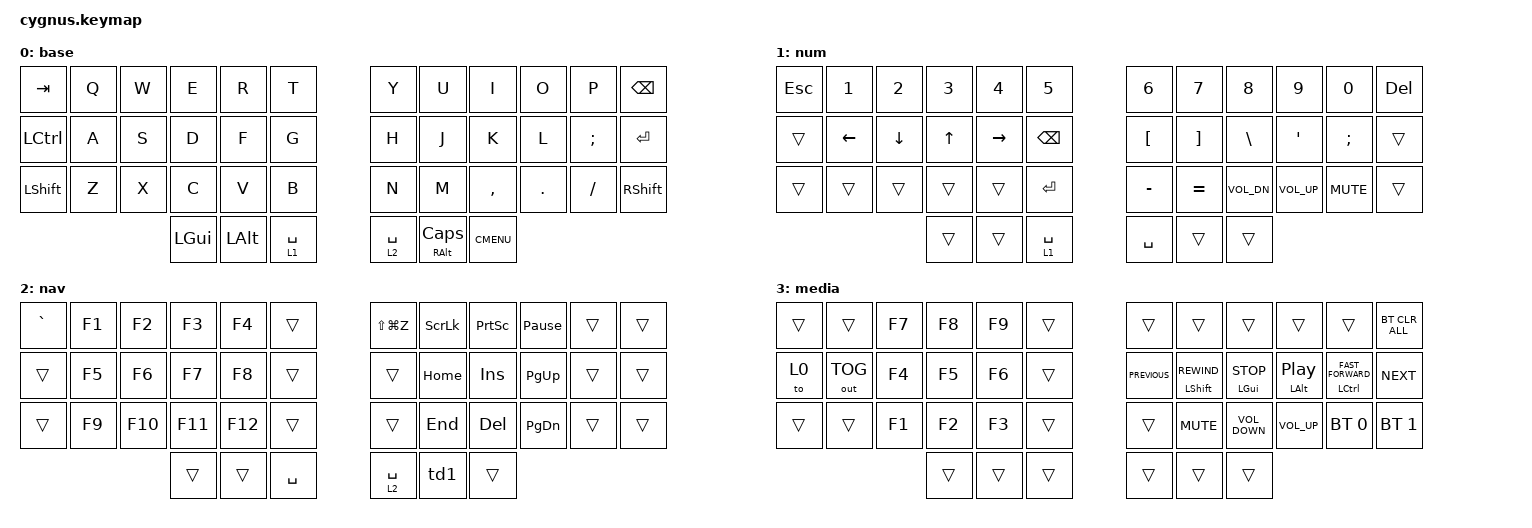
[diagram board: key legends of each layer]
/*
 * Copyright (c) 2020 The ZMK Contributors
 *
 * SPDX-License-Identifier: MIT
 */

#include <behaviors.dtsi>
#include <dt-bindings/zmk/bt.h>
#include <dt-bindings/zmk/keys.h>
#include <dt-bindings/zmk/outputs.h>

&mt {
    tapping-term-ms = <200>;
    flavor = "tap-preferred";
};

&sk {
    release-after-ms = <2000>;
    quick-release;
};

/ {
    combos {
        compatible = "zmk,combos";

        left_bkt {
            bindings = <&kp LBKT>;
            key-positions = <3 2>;
            timeout-ms = <50>;
        };

        right_bkt {
            bindings = <&kp RBKT>;
            key-positions = <6 7>;
            timeout-ms = <50>;
        };

        left_par {
            bindings = <&kp LEFT_PARENTHESIS>;
            key-positions = <12 13>;
            timeout-ms = <50>;
        };

        right_par {
            bindings = <&kp RIGHT_PARENTHESIS>;
            key-positions = <16 17>;
            timeout-ms = <50>;
        };

        left_brace {
            bindings = <&kp LEFT_BRACE>;
            key-positions = <23 22>;
            timeout-ms = <50>;
        };

        right_brace {
            bindings = <&kp RIGHT_BRACE>;
            key-positions = <26 27>;
            timeout-ms = <50>;
        };

        bac {
            bindings = <&kp BACKSLASH>;
            key-positions = <4 5>;
        };

        pipe {
            bindings = <&kp PIPE>;
            key-positions = <14 15>;
        };
    };

    behaviors {
        hm: homerow_mods {
            compatible = "zmk,behavior-hold-tap";
            label = "HOMEROW_MODS";
            #binding-cells = <2>;
            tapping-term-ms = <200>;
            quick_tap_ms = <0>;
            flavor = "tap-preferred";
            bindings = <&kp>, <&kp>;

            quick-tap-ms = <180>;
            global-quick-tap;
        };

        ltq: ltq {
            compatible = "zmk,behavior-hold-tap";
            label = "LTQ";
            #binding-cells = <2>;
            tapping-term-ms = <200>;
            quick_tap_ms = <0>;
            flavor = "hold-preferred";
            bindings = <&mo>, <&kp>;

            quick-tap-ms = <180>;
            global-quick-tap;
        };

        as: as {
            compatible = "zmk,behavior-hold-tap";
            label = "AUTO_SHIFT";
            bindings = <&kp>, <&kp>;

            #binding-cells = <2>;
            tapping-term-ms = <135>;
            quick-tap-ms = <0>;
            flavor = "tap-preferred";
        };

        td0: td0 {
            compatible = "zmk,behavior-tap-dance";
            label = "TD0";
            #binding-cells = <0>;
            bindings = <&kp LEFT_SHIFT>, <&kp CAPSLOCK>;
        };

        mth: mth {
            compatible = "zmk,behavior-hold-tap";
            label = "MTH";
            bindings = <&kp>, <&kp>;

            #binding-cells = <2>;
            tapping-term-ms = <200>;
            flavor = "hold-preferred";
        };

        td1: td1 {
            compatible = "zmk,behavior-tap-dance";
            label = "TD1";
            #binding-cells = <0>;
            bindings = <&lt 3 ENTER>, <&to 3>;
        };
    };

    keymap {
        compatible = "zmk,keymap";

        base {
            // -----------------------------------------------------------------------------------------
            // |  TAB |  Q  |  W  |  E  |  R  |  T  |   |  Y  |  U   |  I  |  O  |  P  | BKSP |
            // | CTRL |  A  |  S  |  D  |  F  |  G  |   |  H  |  J   |  K  |  L  |  ;  |  '   |
            // | SHFT |  Z  |  X  |  C  |  V  |  B  |   |  N  |  M   |  ,  |  .  |  /  | ESC  |
            //                    | GUI | LWR | SPC |   | ENT | RSE  | ALT |

            bindings = <
&kp TAB           &kp Q  &kp W  &kp E     &kp R         &kp T        &kp Y        &kp U               &kp I        &kp O    &kp P          &kp BACKSPACE
&kp LEFT_CONTROL  &kp A  &kp S  &kp D     &kp F         &kp G        &kp H        &kp J               &kp K        &kp L    &kp SEMICOLON  &kp ENTER
&kp LEFT_SHIFT    &kp Z  &kp X  &kp C     &kp V         &kp B        &kp N        &kp M               &kp COMMA    &kp DOT  &kp SLASH      &kp RIGHT_SHIFT
                                &kp LGUI  &kp LEFT_ALT  &lt 1 SPACE  &lt 2 SPACE  &mt RIGHT_ALT CAPS  &kp K_CMENU
            >;
        };

        num {
            bindings = <
&kp ESCAPE  &kp NUMBER_1  &kp NUMBER_2  &kp NUMBER_3  &kp NUMBER_4  &kp N5         &kp NUMBER_6      &kp N7             &kp N8         &kp N9           &kp N0         &kp DELETE
&trans      &kp LEFT      &kp DOWN      &kp UP_ARROW  &kp RIGHT     &kp BACKSPACE  &kp LEFT_BRACKET  &kp RIGHT_BRACKET  &kp BACKSLASH  &kp SQT          &kp SEMICOLON  &trans
&trans      &trans        &trans        &trans        &trans        &kp ENTER      &kp MINUS         &kp EQUAL          &kp C_VOL_DN   &kp C_VOLUME_UP  &kp K_MUTE     &trans
                                        &trans        &trans        &lt 1 SPACE    &kp SPACE         &trans             &trans
            >;
        };

        nav {
            bindings = <
&kp GRAVE  &kp F1  &kp F2   &kp F3   &kp F4   &trans     &kp LS(LG(Z))  &kp SCROLLLOCK  &kp PRINTSCREEN  &kp PAUSE_BREAK  &trans  &trans
&trans     &kp F5  &kp F6   &kp F7   &kp F8   &trans     &trans         &kp HOME        &kp INSERT       &kp PAGE_UP      &trans  &trans
&trans     &kp F9  &kp F10  &kp F11  &kp F12  &trans     &trans         &kp END         &kp DELETE       &kp PAGE_DOWN    &trans  &trans
                            &trans   &trans   &kp SPACE  &lt 2 SPACE    &td1            &trans
            >;
        };

        media {
            bindings = <
&trans  &trans        &kp F7  &kp F8  &kp F9  &trans  &trans          &trans                   &trans               &trans                     &trans                    &bt BT_CLR_ALL
&to 0   &out OUT_TOG  &kp F4  &kp F5  &kp F6  &trans  &kp C_PREVIOUS  &mt LEFT_SHIFT C_REWIND  &mt LEFT_GUI C_STOP  &mt LEFT_ALT C_PLAY_PAUSE  &mt LCTRL C_FAST_FORWARD  &kp C_NEXT
&trans  &trans        &kp F1  &kp F2  &kp F3  &trans  &trans          &kp C_MUTE               &kp C_VOLUME_DOWN    &kp C_VOLUME_UP            &bt BT_SEL 0              &bt BT_SEL 1
                              &trans  &trans  &trans  &trans          &trans                   &trans
            >;
        };
    };
};
